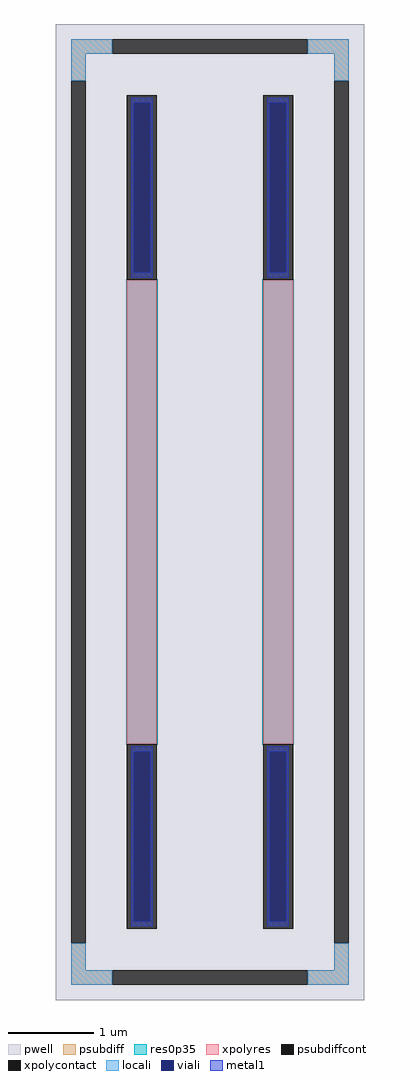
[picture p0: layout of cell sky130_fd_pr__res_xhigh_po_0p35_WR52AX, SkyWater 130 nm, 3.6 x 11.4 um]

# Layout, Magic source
magic
tech sky130A
magscale 1 2
<< pwell >>
rect -360 -1140 360 1140
<< psubdiff >>
rect -324 1070 -228 1104
rect 228 1070 324 1104
rect -324 1008 -290 1070
rect 290 1008 324 1070
rect -324 -1070 -290 -1008
rect 290 -1070 324 -1008
rect -324 -1104 -228 -1070
rect 228 -1104 324 -1070
<< psubdiffcont >>
rect -228 1070 228 1104
rect -324 -1008 -290 1008
rect 290 -1008 324 1008
rect -228 -1104 228 -1070
<< xpolycontact >>
rect -194 542 -124 974
rect -194 -974 -124 -542
rect 124 542 194 974
rect 124 -974 194 -542
<< xpolyres >>
rect -194 -542 -124 542
rect 124 -542 194 542
<< locali >>
rect -324 1070 -228 1104
rect 228 1070 324 1104
rect -324 1008 -290 1070
rect 290 1008 324 1070
rect -324 -1070 -290 -1008
rect 290 -1070 324 -1008
rect -324 -1104 -228 -1070
rect 228 -1104 324 -1070
<< viali >>
rect -178 559 -140 956
rect 140 559 178 956
rect -178 -956 -140 -559
rect 140 -956 178 -559
<< metal1 >>
rect -184 956 -134 968
rect -184 559 -178 956
rect -140 559 -134 956
rect -184 547 -134 559
rect 134 956 184 968
rect 134 559 140 956
rect 178 559 184 956
rect 134 547 184 559
rect -184 -559 -134 -547
rect -184 -956 -178 -559
rect -140 -956 -134 -559
rect -184 -968 -134 -956
rect 134 -559 184 -547
rect 134 -956 140 -559
rect 178 -956 184 -559
rect 134 -968 184 -956
<< res0p35 >>
rect -196 -544 -122 544
rect 122 -544 196 544
<< properties >>
string FIXED_BBOX -307 -1087 307 1087
string gencell sky130_fd_pr__res_xhigh_po_0p35
string library sky130
string parameters w 0.350 l 5.42 m 1 nx 2 wmin 0.350 lmin 0.50 rho 2000 val 32.046k dummy 0 dw 0.0 term 188.2 sterm 0.0 caplen 0 wmax 0.350 guard 1 glc 1 grc 1 gtc 1 gbc 1 compatible {sky130_fd_pr__res_xhigh_po_0p35  sky130_fd_pr__res_xhigh_po_0p69 sky130_fd_pr__res_xhigh_po_1p41  sky130_fd_pr__res_xhigh_po_2p85 sky130_fd_pr__res_xhigh_po_5p73} full_metal 1 n_guard 0 hv_guard 0 vias 1 viagb 0 viagt 0 viagl 0 viagr 0
<< end >>
